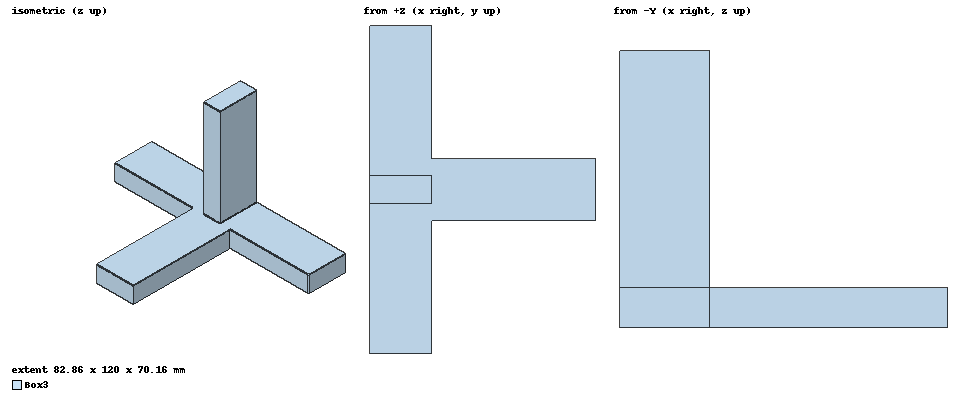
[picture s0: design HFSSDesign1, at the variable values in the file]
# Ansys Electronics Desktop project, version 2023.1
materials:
  vacuum: permittivity=1

design HFSSDesign1 (HFSS, HFSS Modal Network, model units mm)
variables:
  W = 22.86mm
  L = 120mm
  H = 10.16mm
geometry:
  Box1 = box(corner=(0mm, 0mm, 0mm), size=(W, L, H))
  Box2 = box(corner=(W, L/2-W/2, 0mm), size=(L/2, W, H))
  Box3 [vacuum] = box(corner=(0mm, L/2-H/2, H), size=(W, H, L/2))
  Box3.unite(Box1, Box2)
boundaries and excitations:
  PerfE1: Perfect E Faces=Box3.face(+y, -y, at (41.43, 60, 10.16), +x, -x, at (52.86, 48.57, 5.08), at (22.86, 24.285, 5.08), at (22.86, 95.715, 5.08), at (41.43, 60, 0), at (52.86, 71.43, 5.08))
  1: Wave Port Faces=Box3.face(at (11.43, 0, 5.08)) WavePortType=Default NumModes=1 Modes{Mode1{IntLine{(11.43, 0, 0) -> (11.43, 0, 10.16)} CharImp=Zpi}}
  2: Wave Port Faces=Box3.face(at (11.43, 120, 5.08)) WavePortType=Default NumModes=1 Modes{Mode1{IntLine{(11.43, 120, 0) -> (11.43, 120, 10.16)} CharImp=Zpi}}
  3: Wave Port Faces=Box3.face(at (82.86, 60, 5.08)) WavePortType=Default NumModes=1 Modes{Mode1{IntLine{(82.86, 60, 0) -> (82.86, 60, 10.16)} CharImp=Zpi}}
  4: Wave Port Faces=Box3.face(+z) WavePortType=Default NumModes=1 Modes{Mode1{IntLine{(11.43, 54.92, 70.16) -> (11.43, 65.08, 70.16)} CharImp=Zpi}}
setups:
  Setup1: HfssDriven Frequency=9GHz MaxDeltaS=0.02 MaximumPasses=10 MinimumPasses=1 MinimumConvergedPasses=1 PercentRefinement=30 BasisOrder=1 PortAccuracy=2 DrivenSolverType="Direct Solver"
    sweep Sweep: 7GHz to 12GHz, 101 points; disabled Type=Interpolating InterpTolerance=0.5 InterpMaxSolns=250 InterpUsePortImped=false PassivityErrorTolerance=0.0001
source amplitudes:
  1:1, 2:1, 4:1: 0W 0deg
  3:1: 1W 0deg
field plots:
  Mag_E1, Vector_E1: E Field in Box3 on Setup1 : LastAdaptive at Freq=9GHz Phase=0deg
